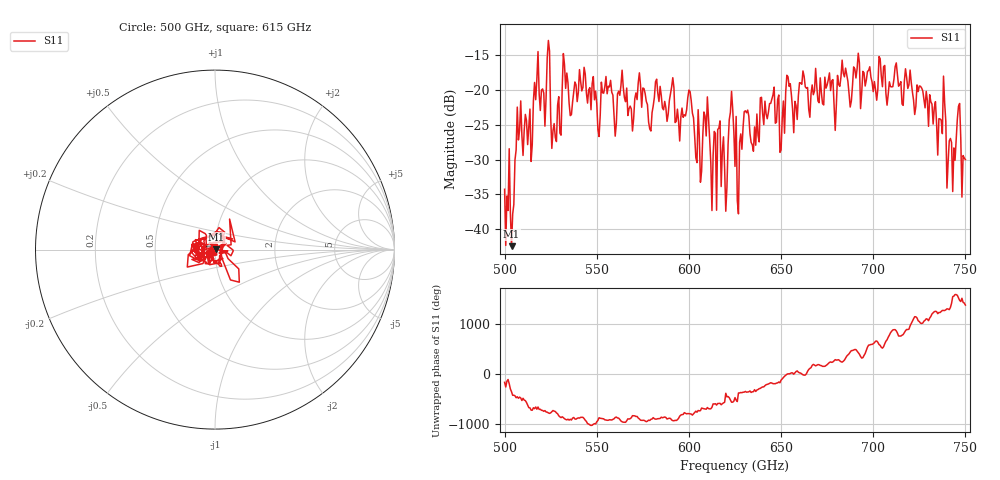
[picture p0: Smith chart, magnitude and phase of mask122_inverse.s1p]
!Created with skrf (http://scikit-rf.org).
# GHz S MA R 50.0
!freq magS11 angS11
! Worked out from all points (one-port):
!   401 points, 500 GHz to 750 GHz, reference 50 ohm
!   lowest |S11| = -42.4 dB at 503.8 GHz (marker M1), VSWR 1.02, Z = 50.8 + j0.119 ohm
!   |S11| at or under -10 dB: start of sweep to end of sweep
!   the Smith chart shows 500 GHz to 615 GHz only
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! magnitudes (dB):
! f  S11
! 500 GHz  -34.3
! 503.8 GHz  -42.4
! 507.5 GHz  -27.2
! 513.8 GHz  -22.7
! 516.9 GHz  -21.4
! 523.8 GHz  -12.9
! 526.9 GHz  -24.8
! 531.2 GHz  -19.7
! 562.5 GHz  -20.8
! 579.4 GHz  -25.9
! 590.6 GHz  -19.6
! 593.8 GHz  -22.8
! 600.6 GHz  -20.2
! 605.6 GHz  -26.7
! 609.4 GHz  -26.6
! 613.8 GHz  -26.0
! 620.6 GHz  -34.0
! 623.1 GHz  -20.2
! 625 GHz  -31.0
! 627.5 GHz  -27.5
! 631.2 GHz  -23.3
! 656.2 GHz  -22.8
! 687.5 GHz  -22.5
! 718.8 GHz  -19.8
! 738.1 GHz  -18.0
! 741.2 GHz  -27.3
! 746.2 GHz  -22.4
! 750 GHz  -30.0
